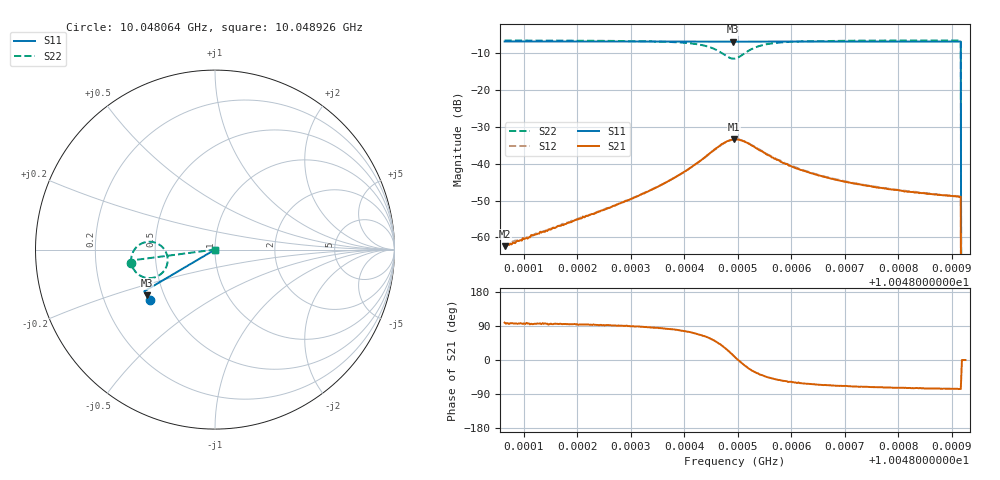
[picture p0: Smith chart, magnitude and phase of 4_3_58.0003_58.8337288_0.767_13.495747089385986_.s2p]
#  HZ  S  RI  R  50.00
! Rohde & Schwarz Vector Network Analyzer
! Rohde-Schwarz,ZNB20-2Port,1311601062101988,3.16
! Created: UTC 3/21/2024, 12:50:25 AM
! freq[Hz]  re:S11  im:S11  re:S21  im:S21  re:S12  im:S12  re:S22  im:S22
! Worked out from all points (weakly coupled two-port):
!   401 points, 10.048064 GHz to 10.048926 GHz, reference 50 ohm
!   highest |S21| = -33.34 dB at 10.048493 GHz (marker M1); lowest = -62.4 dB at 10.048064 GHz (marker M2)
!   lowest |S11| = -6.8 dB at 10.048491 GHz (marker M3), VSWR 2.68, Z = 20.1 - j13 ohm
!   |S11| at or under -10 dB: 10.048917 GHz to end of sweep
!   |S22| runs from - to -6.5 dB; largest |S21 - S12| = 0.0019
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1.00480643e10  -0.3645 -0.2801  -0.000114 0.000754  -0.000137 0.000746  -0.4675 -0.0741
1.00480837e10  -0.3652 -0.2789  -8.23e-05 0.00083  -0.000187 0.000884  -0.4675 -0.0717
1.00482086e10  -0.3702 -0.2721  -0.000112 0.00181  -0.000239 0.00183  -0.4675 -0.0545
1.00482732e10  -0.3725 -0.2682  -2.75e-05 0.00279  -0.000215 0.00276  -0.4658 -0.0414
1.00483529e10  -0.3754 -0.2637  0.000516 0.00495  0.000207 0.00499  -0.4582 -0.0161
1.00483981e10  -0.3771 -0.2608  0.00174 0.0074  0.00129 0.00749  -0.4425 0.00827
1.00484348e10  -0.3781 -0.2585  0.00511 0.0104  0.00436 0.0108  -0.407 0.0351
1.00484671e10  -0.3785 -0.2564  0.0131 0.0119  0.0123 0.0124  -0.3288 0.0373
1.004848e10  -0.3785 -0.2559  0.0179 0.00933  0.0169 0.0105  -0.2883 0.00873
1.00484908e10  -0.3783 -0.2556  0.0207 0.0049  0.0203 0.0065  -0.2665 -0.0345
1.00484929e10  -0.3784 -0.2556  0.0212 0.00391  0.0207 0.00544  -0.2647 -0.0443
1.00484951e10  -0.3784 -0.2556  0.0213 0.00279  0.0209 0.00454  -0.2638 -0.0545
1.00485059e10  -0.3787 -0.2555  0.0207 -0.00217  0.0211 -0.000591  -0.274 -0.1019
1.00485188e10  -0.3793 -0.2554  0.0179 -0.00671  0.0185 -0.0051  -0.3071 -0.1407
1.00485489e10  -0.3812 -0.2541  0.0106 -0.00949  0.0114 -0.00877  -0.3825 -0.1576
1.00485855e10  -0.383 -0.2521  0.00585 -0.00839  0.00668 -0.00823  -0.4265 -0.1387
1.00486394e10  -0.3851 -0.2487  0.00327 -0.00662  0.00369 -0.00649  -0.4504 -0.1137
1.00487019e10  -0.3874 -0.2453  0.00209 -0.0053  0.00239 -0.00524  -0.4607 -0.0951
1.00487837e10  -0.3903 -0.2404  0.00133 -0.00431  0.0016 -0.00427  -0.4664 -0.0788
1.0048913e10  -0.3945 -0.2328  0.000821 -0.00346  0.00106 -0.00348  -0.4703 -0.0616
1.00489237e10  0 0  0 0  0 0  0 0
1.00489259e10  0 0  0 0  0 0  0 0
